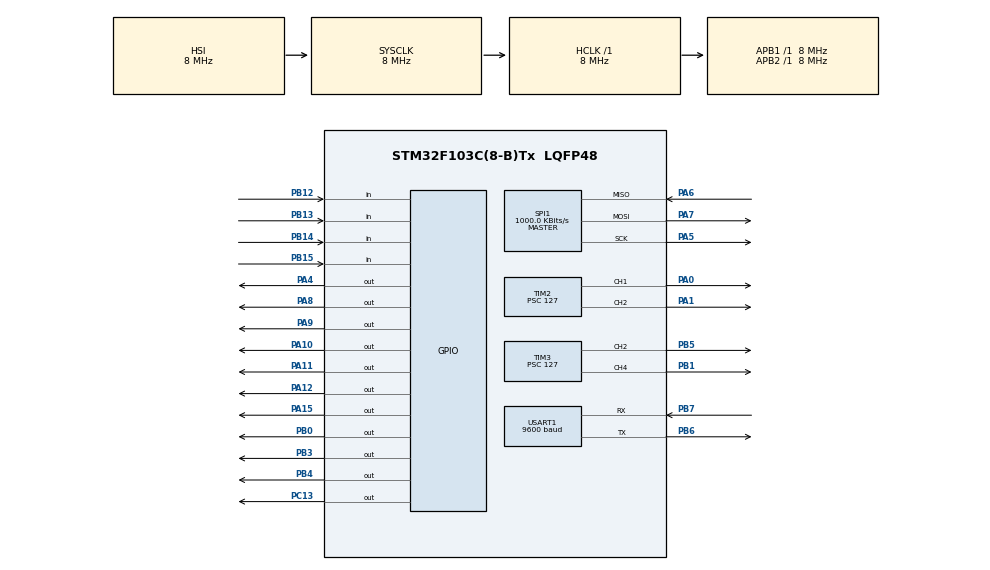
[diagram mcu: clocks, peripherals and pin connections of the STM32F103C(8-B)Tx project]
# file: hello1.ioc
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Mcu.Family=STM32F1
Mcu.Name=STM32F103C(8-B)Tx
Mcu.Package=LQFP48
NVIC.PriorityGroup=NVIC_PRIORITYGROUP_4
PA0-WKUP.Signal=S_TIM2_CH1_ETR
PA1.Signal=S_TIM2_CH2
PA10.Signal=GPIO_Output
PA11.Signal=GPIO_Output
PA12.Signal=GPIO_Output
PA13.Mode=Serial_Wire
PA13.Signal=SYS_JTMS-SWDIO
PA14.Mode=Serial_Wire
PA14.Signal=SYS_JTCK-SWCLK
PA15.Signal=GPIO_Output
PA2.Signal=S_TIM2_CH3
PA3.Signal=S_TIM2_CH4
PA4.Signal=GPIO_Output
PA5.Mode=Full_Duplex_Master
PA5.Signal=SPI1_SCK
PA6.Mode=Full_Duplex_Master
PA6.Signal=SPI1_MISO
PA7.Mode=Full_Duplex_Master
PA7.Signal=SPI1_MOSI
PA8.Signal=GPIO_Output
PA9.Signal=GPIO_Output
PB0.Signal=GPIO_Output
PB1.Signal=S_TIM3_CH4
PB12.Signal=GPIO_Input
PB13.Signal=GPIO_Input
PB14.Signal=GPIO_Input
PB15.Signal=GPIO_Input
PB3.Signal=GPIO_Output
PB4.Signal=GPIO_Output
PB5.Signal=S_TIM3_CH2
PB6.Mode=Multiprocessor_communication
PB6.Signal=USART1_TX
PB7.Mode=Multiprocessor_communication
PB7.Signal=USART1_RX
PC13-TAMPER-RTC.Signal=GPIO_Output
PD0-OSC_IN.Mode=HSE-External-Oscillator
PD0-OSC_IN.Signal=RCC_OSC_IN
PD1-OSC_OUT.Mode=HSE-External-Oscillator
PD1-OSC_OUT.Signal=RCC_OSC_OUT
ProjectManager.HeapSize=0x200
ProjectManager.StackSize=0x400
ProjectManager.TargetToolchain=STM32CubeIDE
RCC.AHBFreq_Value=8000000
RCC.APB1Freq_Value=8000000
RCC.APB1TimFreq_Value=8000000
RCC.APB2Freq_Value=8000000
RCC.APB2TimFreq_Value=8000000
RCC.HCLKFreq_Value=8000000
RCC.PLLSourceVirtual=RCC_PLLSOURCE_HSE
RCC.SYSCLKFreq_VALUE=8000000
RCC.USBFreq_Value=16000000
SH.S_TIM2_CH1_ETR.0=TIM2_CH1,PWM Generation1 CH1
SH.S_TIM2_CH2.0=TIM2_CH2,PWM Generation2 CH2
SH.S_TIM2_CH3.0=TIM2_CH3
SH.S_TIM2_CH4.0=TIM2_CH4
SH.S_TIM3_CH2.0=TIM3_CH2,PWM Generation2 CH2
SH.S_TIM3_CH4.0=TIM3_CH4,PWM Generation4 CH4
SPI1.BaudRatePrescaler=SPI_BAUDRATEPRESCALER_8
SPI1.CalculateBaudRate=1000.0 KBits/s
SPI1.Direction=SPI_DIRECTION_2LINES
SPI1.Mode=SPI_MODE_MASTER
SPI1.VirtualType=VM_MASTER
TIM2.Channel-PWM\ Generation1\ CH1=TIM_CHANNEL_1
TIM2.Channel-PWM\ Generation2\ CH2=TIM_CHANNEL_2
TIM2.Period=625
TIM2.Prescaler=127
TIM3.Channel-PWM\ Generation2\ CH2=TIM_CHANNEL_2
TIM3.Channel-PWM\ Generation4\ CH4=TIM_CHANNEL_4
TIM3.Period=625
TIM3.Prescaler=127
USART1.BaudRate=9600
USART1.VirtualMode=VM_ASYNC
VP_TIM2_VS_ClockSourceINT.Mode=Internal
VP_TIM3_VS_ClockSourceINT.Mode=Internal
board=custom

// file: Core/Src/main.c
/**
  ******************************************************************************
  * @file           : main.c
  * @brief          : Main program body
  ******************************************************************************
  * @attention
  *
  * Copyright (c) 2022 STMicroelectronics.
  * All rights reserved.
  *
  * This software is licensed under terms that can be found in the LICENSE file
  * in the root directory of this software component.
  * If no LICENSE file comes with this software, it is provided AS-IS.
  *
  ******************************************************************************
  */
/* USER CODE END Header */
#include "main.h"

/* USER CODE BEGIN Includes */
#include "stm32f1_rc522.h"
#include "string.h"
#include "stdio.h"
/* USER CODE END Includes */

/* USER CODE BEGIN PTD */
uint8_t i;
uint8_t status;
uint8_t str[MAX_LEN]; // Max_LEN = 16

uint8_t serNum[5];
char password[16]="123456"; //Max lenght of password is 16 charaters
char keypass[16];
int cnt=0;
uint8_t key;
uint8_t check,check2;
//
uint8_t Key_Card[4]  = {0x64, 0x1C, 0x3F, 0x64};
uint8_t Key_Card2[4] = {0x64, 0x11, 0x0D, 0x64};
uint8_t Key_Card3[4] = {0x74, 0x36, 0x61, 0x64};
uint8_t Key_Card4[4] = {0x64, 0x00, 0x96, 0x64};

/* USER CODE END PTD */

SPI_HandleTypeDef hspi1;

TIM_HandleTypeDef htim2;
TIM_HandleTypeDef htim3;

UART_HandleTypeDef huart1;

void SystemClock_Config(void);
static void MX_GPIO_Init(void);
static void MX_TIM2_Init(void);
static void MX_TIM3_Init(void);
static void MX_SPI1_Init(void);
static void MX_USART1_UART_Init(void);

int main(void)
{

  /* MCU Configuration--------------------------------------------------------*/

  /* Reset of all peripherals, Initializes the Flash interface and the Systick. */
  HAL_Init();

  /* Configure the system clock */
  SystemClock_Config();

  /* Initialize all configured peripherals */
  MX_GPIO_Init();
  MX_TIM2_Init();
  MX_TIM3_Init();
  MX_SPI1_Init();
  MX_USART1_UART_Init();
  /* USER CODE BEGIN 2 */

  MFRC522_Init();
  char buffer[14]= " ";
  char input_pin[1]= " ";
  int flag=0;
  HAL_TIM_PWM_Start(&htim2, TIM_CHANNEL_2);
      char left1,right1,left2,right2;
      HAL_TIM_PWM_Start(&htim2, TIM_CHANNEL_3);
      HAL_TIM_PWM_Start(&htim2, TIM_CHANNEL_1);
      HAL_TIM_PWM_Start(&htim2, TIM_CHANNEL_4);
      HAL_TIM_PWM_Start(&htim3, TIM_CHANNEL_2);
      HAL_TIM_PWM_Start(&htim3, TIM_CHANNEL_4);
  /* USER CODE END 2 */

  /* Infinite loop */
  /* USER CODE BEGIN WHILE */
  while (1)
  {
	  status = MFRC522_Request(PICC_REQIDL, str);	//MFRC522_Request(0x26, str)
	        	status = MFRC522_Anticoll(str);//Take a collision, look up 5 bytes
	        	memcpy(serNum, str, 5);//function for c language:(para1:that place save data,para2:the the source of data,para3:size)
	        	left1=HAL_GPIO_ReadPin(GPIOB, GPIO_PIN_13);
	        	right1=HAL_GPIO_ReadPin(GPIOB, GPIO_PIN_12);
	        	left2=HAL_GPIO_ReadPin(GPIOB, GPIO_PIN_15);
	        	right2=HAL_GPIO_ReadPin(GPIOB, GPIO_PIN_14);
	        	HAL_GPIO_WritePin(GPIOC,GPIO_PIN_13,1);
	        		    		   HAL_Delay(300);
	        		    		   HAL_GPIO_WritePin(GPIOC,GPIO_PIN_13,0);
	        		    		   HAL_GPIO_WritePin(GPIOA, GPIO_PIN_10, 1);
	        		    		   HAL_GPIO_WritePin(GPIOA, GPIO_PIN_11, 1);

	        		    		   HAL_GPIO_WritePin(GPIOA, GPIO_PIN_8, 1);
	        		    		   HAL_GPIO_WritePin(GPIOA, GPIO_PIN_9, 1);

	        	if((str[0]==0x74) && (str[1]==0x36) && (str[2]==0x61) && (str[3]==0x64) && flag==0 )
	        	{
	    		   HAL_GPIO_WritePin(GPIOC,GPIO_PIN_13,1);
	    		   HAL_Delay(300);
	    		   HAL_GPIO_WritePin(GPIOC,GPIO_PIN_13,0);
	     	  		__HAL_TIM_SET_COMPARE(&htim2,TIM_CHANNEL_1, 0);
	     	  		__HAL_TIM_SET_COMPARE(&htim2,TIM_CHANNEL_2, 0);
	     	  		__HAL_TIM_SET_COMPARE(&htim3,TIM_CHANNEL_2, 0);
	     	  		__HAL_TIM_SET_COMPARE(&htim3,TIM_CHANNEL_4, 0);
	               MFRC522_Init();
	              HAL_Delay(5000); /* Timer is supposed to be here */
	              flag==1;

	        	}
	        	else {         HAL_GPIO_WritePin(GPIOC,GPIO_PIN_13,0);

	        	        	                        if(left1==0&&right1==0)
	        	        	      	    	  		{

	        	        	                        	__HAL_TIM_SET_COMPARE(&htim2,TIM_CHANNEL_1, 250);
	        	        	      	    	  	        __HAL_TIM_SET_COMPARE(&htim2,TIM_CHANNEL_2, 0);
	        	        	      	    	  	        __HAL_TIM_SET_COMPARE(&htim3,TIM_CHANNEL_2, 250);
	        	        	      	    	       	    __HAL_TIM_SET_COMPARE(&htim3,TIM_CHANNEL_4, 0);

	        	        	      	    	  		}
	        	        	      	    	  		else if(left1==1&&right1==1)
	        	        	      	    	  		{

	        	        	      	    	  		__HAL_TIM_SET_COMPARE(&htim2,TIM_CHANNEL_1, 0);
	        	        	      	    	  		__HAL_TIM_SET_COMPARE(&htim2,TIM_CHANNEL_2, 0);
	        	        	      	    	  		__HAL_TIM_SET_COMPARE(&htim3,TIM_CHANNEL_2, 0);
	        	        	      	    	  		__HAL_TIM_SET_COMPARE(&htim3,TIM_CHANNEL_4, 0);

	        	        	      	    	  		}
	        	        	      	    	  		else if(left1==1&&right1==0)
	        	        	      	    	  		{

	        	        	                        	__HAL_TIM_SET_COMPARE(&htim2,TIM_CHANNEL_1, 350);
	        	        	      	    	  	        __HAL_TIM_SET_COMPARE(&htim2,TIM_CHANNEL_2, 0);
	        	        	      	    	  	        __HAL_TIM_SET_COMPARE(&htim3,TIM_CHANNEL_2, 0);
	        	        	      	    	       	    __HAL_TIM_SET_COMPARE(&htim3,TIM_CHANNEL_4, 350);

	        	        	      	    	  		}
	        	        	      	    	  		else if(left1==0&&right1==1)
	        	        	      	    	  		{

	        	        	                        	__HAL_TIM_SET_COMPARE(&htim2,TIM_CHANNEL_1, 0);
	        	        	      	    	  	        __HAL_TIM_SET_COMPARE(&htim2,TIM_CHANNEL_2, 350);
	        	        	      	    	  	        __HAL_TIM_SET_COMPARE(&htim3,TIM_CHANNEL_2, 350);
	        	        	      	    	       	    __HAL_TIM_SET_COMPARE(&htim3,TIM_CHANNEL_4, 0);

	        	        	      	    	  		}

	        						}
	        	if((str[0]==0x64) && (str[1]==0x00) && (str[2]==0x96) && (str[3]==0x64) && flag==1 )
	        		                          	{

	        		                      		   HAL_GPIO_WritePin(GPIOC,GPIO_PIN_13,0);
	        		                       	  		__HAL_TIM_SET_COMPARE(&htim2,TIM_CHANNEL_1, 0);
	        		                       	  		__HAL_TIM_SET_COMPARE(&htim2,TIM_CHANNEL_2, 0);
	        		                       	  		__HAL_TIM_SET_COMPARE(&htim3,TIM_CHANNEL_2, 0);
	        		                       	  		__HAL_TIM_SET_COMPARE(&htim3,TIM_CHANNEL_4, 0);
	        		                                 MFRC522_Init();
	        		                                HAL_Delay(2000); /* Timer is supposed to be here */
	        		                                flag=0;

	        		                          	}
	        		                     else {
	        		                          		HAL_GPIO_WritePin(GPIOC,GPIO_PIN_13,1);
	        		                          	        	               if(left2==0&&right2==0)
	        		                          	        	      	    	  		{

	        		                          	        	                        	__HAL_TIM_SET_COMPARE(&htim2,TIM_CHANNEL_1, 0);
	        		                          	        	      	    	  	        __HAL_TIM_SET_COMPARE(&htim2,TIM_CHANNEL_2, 250);
	        		                          	        	      	    	  	        __HAL_TIM_SET_COMPARE(&htim3,TIM_CHANNEL_2, 0);
	        		                          	        	      	    	       	    __HAL_TIM_SET_COMPARE(&htim3,TIM_CHANNEL_4, 250);

	        		                          	        	      	    	  		}
	        		                          	        	      	    	  		else if(left2==1&&right2==1)
	        		                          	        	      	    	  		{
	        		                          	        	      	    	  		__HAL_TIM_SET_COMPARE(&htim2,TIM_CHANNEL_1, 0);
	        		                          	        	      	    	  		__HAL_TIM_SET_COMPARE(&htim2,TIM_CHANNEL_2, 0);
	        		                          	        	      	    	  		__HAL_TIM_SET_COMPARE(&htim3,TIM_CHANNEL_2, 0);
	        		                          	        	      	    	  		__HAL_TIM_SET_COMPARE(&htim3,TIM_CHANNEL_4, 0);

	        		                          	        	      	    	  		}
	        		                          	        	      	    	  		else if(left2==1&&right2==0)
	        		                          	        	      	    	  		{

	        		                          	        	                        	__HAL_TIM_SET_COMPARE(&htim2,TIM_CHANNEL_1, 0);
	        		                          	        	      	    	  	        __HAL_TIM_SET_COMPARE(&htim2,TIM_CHANNEL_2, 350);
	        		                          	        	      	    	  	        __HAL_TIM_SET_COMPARE(&htim3,TIM_CHANNEL_2, 350);
	        		                          	        	      	    	       	    __HAL_TIM_SET_COMPARE(&htim3,TIM_CHANNEL_4, 0);

	        		                          	        	      	    	  		}
	        		                          	        	      	    	  		else if(left2==0&&right2==1)
	        		                          	        	      	    	  		{

	        		                          	        	                        	__HAL_TIM_SET_COMPARE(&htim2,TIM_CHANNEL_1, 350);
	        		                          	        	      	    	  	        __HAL_TIM_SET_COMPARE(&htim2,TIM_CHANNEL_2, 0);
	        		                          	        	      	    	  	        __HAL_TIM_SET_COMPARE(&htim3,TIM_CHANNEL_2, 0);
	        		                          	        	      	    	       	    __HAL_TIM_SET_COMPARE(&htim3,TIM_CHANNEL_4, 350);

	        		                          	        	      	    	  		}

	        		                          						}

	        	  /* USER CODE END 3 */
	        	}

	        }

  /* USER CODE END 3 */

void SystemClock_Config(void)
{
  RCC_OscInitTypeDef RCC_OscInitStruct = {0};
  RCC_ClkInitTypeDef RCC_ClkInitStruct = {0};

  /** Initializes the RCC Oscillators according to the specified parameters
  * in the RCC_OscInitTypeDef structure.
  */
  RCC_OscInitStruct.OscillatorType = RCC_OSCILLATORTYPE_HSI;
  RCC_OscInitStruct.HSIState = RCC_HSI_ON;
  RCC_OscInitStruct.HSICalibrationValue = RCC_HSICALIBRATION_DEFAULT;
  RCC_OscInitStruct.PLL.PLLState = RCC_PLL_NONE;
  if (HAL_RCC_OscConfig(&RCC_OscInitStruct) != HAL_OK)
  {
    Error_Handler();
  }

  /** Initializes the CPU, AHB and APB buses clocks
  */
  RCC_ClkInitStruct.ClockType = RCC_CLOCKTYPE_HCLK|RCC_CLOCKTYPE_SYSCLK
                              |RCC_CLOCKTYPE_PCLK1|RCC_CLOCKTYPE_PCLK2;
  RCC_ClkInitStruct.SYSCLKSource = RCC_SYSCLKSOURCE_HSI;
  RCC_ClkInitStruct.AHBCLKDivider = RCC_SYSCLK_DIV1;
  RCC_ClkInitStruct.APB1CLKDivider = RCC_HCLK_DIV1;
  RCC_ClkInitStruct.APB2CLKDivider = RCC_HCLK_DIV1;

  if (HAL_RCC_ClockConfig(&RCC_ClkInitStruct, FLASH_LATENCY_0) != HAL_OK)
  {
    Error_Handler();
  }
}

static void MX_SPI1_Init(void)
{

  /* SPI1 parameter configuration*/
  hspi1.Instance = SPI1;
  hspi1.Init.Mode = SPI_MODE_MASTER;
  hspi1.Init.Direction = SPI_DIRECTION_2LINES;
  hspi1.Init.DataSize = SPI_DATASIZE_8BIT;
  hspi1.Init.CLKPolarity = SPI_POLARITY_LOW;
  hspi1.Init.CLKPhase = SPI_PHASE_1EDGE;
  hspi1.Init.NSS = SPI_NSS_SOFT;
  hspi1.Init.BaudRatePrescaler = SPI_BAUDRATEPRESCALER_8;
  hspi1.Init.FirstBit = SPI_FIRSTBIT_MSB;
  hspi1.Init.TIMode = SPI_TIMODE_DISABLE;
  hspi1.Init.CRCCalculation = SPI_CRCCALCULATION_DISABLE;
  hspi1.Init.CRCPolynomial = 10;
  if (HAL_SPI_Init(&hspi1) != HAL_OK)
  {
    Error_Handler();
  }

}

static void MX_TIM2_Init(void)
{

  TIM_ClockConfigTypeDef sClockSourceConfig = {0};
  TIM_MasterConfigTypeDef sMasterConfig = {0};
  TIM_OC_InitTypeDef sConfigOC = {0};

  htim2.Instance = TIM2;
  htim2.Init.Prescaler = 127;
  htim2.Init.CounterMode = TIM_COUNTERMODE_UP;
  htim2.Init.Period = 625;
  htim2.Init.ClockDivision = TIM_CLOCKDIVISION_DIV1;
  htim2.Init.AutoReloadPreload = TIM_AUTORELOAD_PRELOAD_DISABLE;
  if (HAL_TIM_Base_Init(&htim2) != HAL_OK)
  {
    Error_Handler();
  }
  sClockSourceConfig.ClockSource = TIM_CLOCKSOURCE_INTERNAL;
  if (HAL_TIM_ConfigClockSource(&htim2, &sClockSourceConfig) != HAL_OK)
  {
    Error_Handler();
  }
  if (HAL_TIM_PWM_Init(&htim2) != HAL_OK)
  {
    Error_Handler();
  }
  sMasterConfig.MasterOutputTrigger = TIM_TRGO_RESET;
  sMasterConfig.MasterSlaveMode = TIM_MASTERSLAVEMODE_DISABLE;
  if (HAL_TIMEx_MasterConfigSynchronization(&htim2, &sMasterConfig) != HAL_OK)
  {
    Error_Handler();
  }
  sConfigOC.OCMode = TIM_OCMODE_PWM1;
  sConfigOC.Pulse = 0;
  sConfigOC.OCPolarity = TIM_OCPOLARITY_HIGH;
  sConfigOC.OCFastMode = TIM_OCFAST_DISABLE;
  if (HAL_TIM_PWM_ConfigChannel(&htim2, &sConfigOC, TIM_CHANNEL_1) != HAL_OK)
  {
    Error_Handler();
  }
  if (HAL_TIM_PWM_ConfigChannel(&htim2, &sConfigOC, TIM_CHANNEL_2) != HAL_OK)
  {
    Error_Handler();
  }
  if (HAL_TIM_PWM_ConfigChannel(&htim2, &sConfigOC, TIM_CHANNEL_3) != HAL_OK)
  {
    Error_Handler();
  }
  if (HAL_TIM_PWM_ConfigChannel(&htim2, &sConfigOC, TIM_CHANNEL_4) != HAL_OK)
  {
    Error_Handler();
  }
  HAL_TIM_MspPostInit(&htim2);

}

static void MX_TIM3_Init(void)
{

  TIM_ClockConfigTypeDef sClockSourceConfig = {0};
  TIM_MasterConfigTypeDef sMasterConfig = {0};
  TIM_OC_InitTypeDef sConfigOC = {0};

  htim3.Instance = TIM3;
  htim3.Init.Prescaler = 127;
  htim3.Init.CounterMode = TIM_COUNTERMODE_UP;
  htim3.Init.Period = 625;
  htim3.Init.ClockDivision = TIM_CLOCKDIVISION_DIV1;
  htim3.Init.AutoReloadPreload = TIM_AUTORELOAD_PRELOAD_DISABLE;
  if (HAL_TIM_Base_Init(&htim3) != HAL_OK)
  {
    Error_Handler();
  }
  sClockSourceConfig.ClockSource = TIM_CLOCKSOURCE_INTERNAL;
  if (HAL_TIM_ConfigClockSource(&htim3, &sClockSourceConfig) != HAL_OK)
  {
    Error_Handler();
  }
  if (HAL_TIM_PWM_Init(&htim3) != HAL_OK)
  {
    Error_Handler();
  }
  sMasterConfig.MasterOutputTrigger = TIM_TRGO_RESET;
  sMasterConfig.MasterSlaveMode = TIM_MASTERSLAVEMODE_DISABLE;
  if (HAL_TIMEx_MasterConfigSynchronization(&htim3, &sMasterConfig) != HAL_OK)
  {
    Error_Handler();
  }
  sConfigOC.OCMode = TIM_OCMODE_PWM1;
  sConfigOC.Pulse = 0;
  sConfigOC.OCPolarity = TIM_OCPOLARITY_HIGH;
  sConfigOC.OCFastMode = TIM_OCFAST_DISABLE;
  if (HAL_TIM_PWM_ConfigChannel(&htim3, &sConfigOC, TIM_CHANNEL_2) != HAL_OK)
  {
    Error_Handler();
  }
  if (HAL_TIM_PWM_ConfigChannel(&htim3, &sConfigOC, TIM_CHANNEL_4) != HAL_OK)
  {
    Error_Handler();
  }
  HAL_TIM_MspPostInit(&htim3);

}

static void MX_USART1_UART_Init(void)
{

  huart1.Instance = USART1;
  huart1.Init.BaudRate = 9600;
  huart1.Init.WordLength = UART_WORDLENGTH_8B;
  huart1.Init.StopBits = UART_STOPBITS_1;
  huart1.Init.Parity = UART_PARITY_NONE;
  huart1.Init.Mode = UART_MODE_TX_RX;
  huart1.Init.HwFlowCtl = UART_HWCONTROL_NONE;
  huart1.Init.OverSampling = UART_OVERSAMPLING_16;
  if (HAL_MultiProcessor_Init(&huart1, 0, UART_WAKEUPMETHOD_IDLELINE) != HAL_OK)
  {
    Error_Handler();
  }

}

static void MX_GPIO_Init(void)
{
  GPIO_InitTypeDef GPIO_InitStruct = {0};

  /* GPIO Ports Clock Enable */
  __HAL_RCC_GPIOC_CLK_ENABLE();
  __HAL_RCC_GPIOD_CLK_ENABLE();
  __HAL_RCC_GPIOA_CLK_ENABLE();
  __HAL_RCC_GPIOB_CLK_ENABLE();

  /*Configure GPIO pin Output Level */
  HAL_GPIO_WritePin(GPIOC, GPIO_PIN_13, GPIO_PIN_RESET);

  /*Configure GPIO pin Output Level */
  HAL_GPIO_WritePin(GPIOA, GPIO_PIN_4|GPIO_PIN_8|GPIO_PIN_9|GPIO_PIN_10
                          |GPIO_PIN_11|GPIO_PIN_12|GPIO_PIN_15, GPIO_PIN_RESET);

  /*Configure GPIO pin Output Level */
  HAL_GPIO_WritePin(GPIOB, GPIO_PIN_0|GPIO_PIN_3|GPIO_PIN_4, GPIO_PIN_RESET);

  /*Configure GPIO pin : PC13 */
  GPIO_InitStruct.Pin = GPIO_PIN_13;
  GPIO_InitStruct.Mode = GPIO_MODE_OUTPUT_PP;
  GPIO_InitStruct.Pull = GPIO_NOPULL;
  GPIO_InitStruct.Speed = GPIO_SPEED_FREQ_LOW;
  HAL_GPIO_Init(GPIOC, &GPIO_InitStruct);

  /*Configure GPIO pins : PA4 PA8 PA9 PA10
                           PA11 PA12 PA15 */
  GPIO_InitStruct.Pin = GPIO_PIN_4|GPIO_PIN_8|GPIO_PIN_9|GPIO_PIN_10
                          |GPIO_PIN_11|GPIO_PIN_12|GPIO_PIN_15;
  GPIO_InitStruct.Mode = GPIO_MODE_OUTPUT_PP;
  GPIO_InitStruct.Pull = GPIO_NOPULL;
  GPIO_InitStruct.Speed = GPIO_SPEED_FREQ_LOW;
  HAL_GPIO_Init(GPIOA, &GPIO_InitStruct);

  /*Configure GPIO pins : PB0 PB3 PB4 */
  GPIO_InitStruct.Pin = GPIO_PIN_0|GPIO_PIN_3|GPIO_PIN_4;
  GPIO_InitStruct.Mode = GPIO_MODE_OUTPUT_PP;
  GPIO_InitStruct.Pull = GPIO_NOPULL;
  GPIO_InitStruct.Speed = GPIO_SPEED_FREQ_LOW;
  HAL_GPIO_Init(GPIOB, &GPIO_InitStruct);

  /*Configure GPIO pins : PB12 PB13 PB14 PB15 */
  GPIO_InitStruct.Pin = GPIO_PIN_12|GPIO_PIN_13|GPIO_PIN_14|GPIO_PIN_15;
  GPIO_InitStruct.Mode = GPIO_MODE_INPUT;
  GPIO_InitStruct.Pull = GPIO_NOPULL;
  HAL_GPIO_Init(GPIOB, &GPIO_InitStruct);

}

void Error_Handler(void)
{
  __disable_irq();
  while (1)
  {
  }
}
